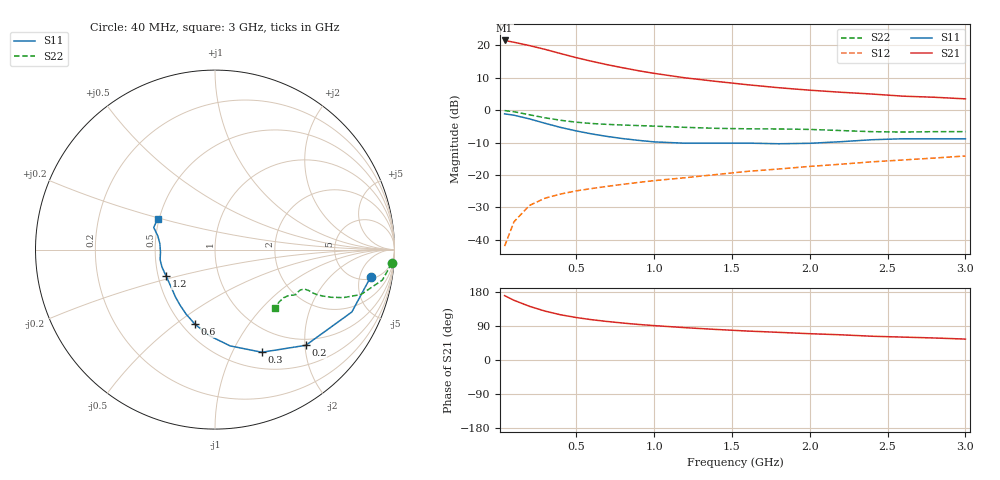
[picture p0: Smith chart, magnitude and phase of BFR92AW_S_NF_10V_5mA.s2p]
! Filename:  BFR92AWG.S2P  Version:  4.0
! Philips part #: BFR92AW  Date: Jun 1994
! Bias condition: Vce=10V, Ic=5mA
#  MHz  S  MA  R  50
! Freq  S11  S21  S12  S22  !GUM [dB]
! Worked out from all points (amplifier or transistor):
!   21 points, 40 MHz to 3 GHz, reference 50 ohm
!   highest |S21| = 21.5 dB at 40 MHz (marker M1)
!   |S21| within 3 dB of that: start of sweep to 319.1 MHz
!   unconditionally stable (mu >= 1): 962.7 MHz to end of sweep
!   at 300 MHz: K = 0.48, MSG = 23.0 dB, |S12| = -27.1 dB
!   at 1 GHz: K = 1.02, MAG = 15.7 dB, |S12| = -21.7 dB
!   at 3 GHz: K = 1.14, MAG = 6.5 dB, |S12| = -14.1 dB
!   lowest NFmin = 1.60 dB at 500 MHz
!   S11 on the Smith chart (normalised r, x): 40 MHz: 5.41, -7.41; 200 MHz: 0.87, -2.02; 300 MHz: 0.69, -1.31; 600 MHz: 0.58, -0.59; 1.2 GHz: 0.55, -0.18; 3 GHz: 0.49, +0.19
40  0.88 -10.1  11.93 169.8  0.008 84.3  0.988 -4.4
100  0.838 -24.5  11.19 157.6  0.019 75.3  0.948 -10.3
200  0.735 -46.5  9.939 141.6  0.034 65.5  0.851 -17.1
300  0.629 -65.4  8.686 129.0  0.044 59.8  0.764 -20.5
400  0.543 -81.1  7.485 119.3  0.051 57.2  0.7 -22.3
500  0.48 -93.9  6.476 112.1  0.057 56.4  0.654 -23.3
600  0.431 -104.9  5.687 106.3  0.062 57.1  0.624 -23.8
700  0.394 -114.1  5.039 101.6  0.067 58.2  0.605 -23.9
800  0.365 -122.4  4.515 97.5  0.072 59.3  0.591 -23.9
900  0.343 -130.2  4.07 93.8  0.077 60.4  0.58 -23.7
1000  0.325 -137.5  3.708 90.8  0.082 61.6  0.569 -23.6
1200  0.31 -151.4  3.159 85.3  0.091 63.8  0.545 -23.8
1400  0.311 -161.9  2.785 80.6  0.102 66.0  0.526 -25.3
1600  0.311 -169.6  2.474 76.4  0.114 67.5  0.517 -27.7
1800  0.304 -177.1  2.225 73.0  0.124 69.4  0.514 -29.2
2000  0.309 173.8  2.038 69.4  0.136 70.8  0.506 -30.1
2200  0.327 166.7  1.894 66.5  0.147 72.0  0.486 -31.6
2400  0.351 162.1  1.777 62.7  0.16 72.8  0.467 -35.0
2600  0.363 160.2  1.648 60.4  0.171 73.4  0.461 -39.5
2800  0.362 156.9  1.586 58.1  0.183 74.7  0.467 -42.6
3000  0.362 151.8  1.498 55.2  0.197 75.2  0.468 -44.5
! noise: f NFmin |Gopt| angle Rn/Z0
500  1.6  0.461  15.9  0.36
1000  2.1  0.327  48  0.42
2000  3  0.174  155.6  0.26
